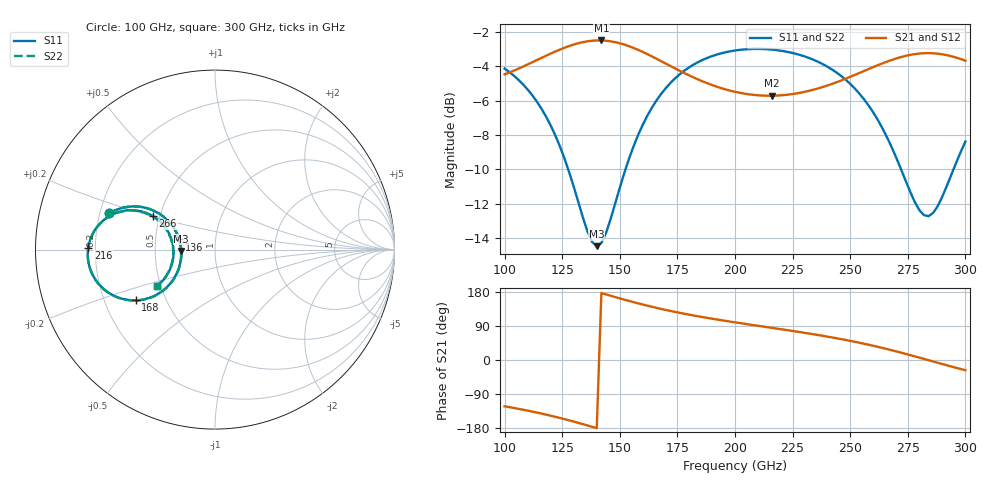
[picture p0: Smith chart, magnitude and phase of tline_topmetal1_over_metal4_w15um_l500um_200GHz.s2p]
#  GHZ S DB R 50
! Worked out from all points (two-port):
!   101 points, 100 GHz to 300 GHz, reference 50 ohm
!   highest |S21| = -2.49 dB at 142 GHz (marker M1); lowest = -5.7 dB at 216 GHz (marker M2)
!   |S21| within 3 dB of the highest: start of sweep to 200.3 GHz; 230 GHz to end of sweep
!   lowest |S11| = -14.5 dB at 140 GHz (marker M3), VSWR 1.47, Z = 34.1 - j0.491 ohm
!   |S11| at or under -10 dB: 127.6 GHz to 152.5 GHz (24.86 GHz wide, 17.8 % of centre); 272.1 GHz to 294.8 GHz (22.74 GHz wide, 8.02 % of centre)
!   |S22| runs from -14.5 to -3.0 dB; largest |S21 - S12| = 9.7e-14
!   S11 on the Smith chart (normalised r, x): 100 GHz: 0.24, +0.16; 136 GHz: 0.66, +0.08; 168 GHz: 0.33, -0.26; 216 GHz: 0.17, +0.01; 266 GHz: 0.46, +0.20; 300 GHz: 0.48, -0.23
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100  -4.12 161.0  -4.46 -122.2  -4.46 -122.2  -4.12 160.9
110  -5.35 153.8  -3.88 -133.6  -3.88 -133.6  -5.35 153.7
118  -6.93 149.0  -3.38 -144.1  -3.38 -144.1  -6.93 148.8
126  -9.37 147.5  -2.91 -156.1  -2.91 -156.1  -9.39 147.3
134  -12.81 157.7  -2.58 -169.3  -2.58 -169.3  -12.86 157.5
136  -13.63 164.2  -2.54 -172.8  -2.54 -172.8  -13.69 164.0
140  -14.47 -177.9  -2.49 -179.8  -2.49 -179.8  -14.55 -177.9
142  -14.28 -168.2  -2.49 176.7  -2.49 176.7  -14.35 -168.0
148  -11.98 -148.1  -2.59 166.1  -2.59 166.1  -12.03 -147.8
156  -8.64 -141.8  -2.92 152.6  -2.92 152.6  -8.66 -141.5
168  -5.59 -147.5  -3.70 134.7  -3.70 134.7  -5.60 -147.3
184  -3.75 -159.3  -4.76 115.3  -4.76 115.3  -3.75 -159.2
200  -3.07 -170.5  -5.48 99.4  -5.48 99.4  -3.07 -170.4
216  -3.02 179.1  -5.71 84.8  -5.71 84.8  -3.02 179.3
234  -3.61 167.7  -5.36 68.0  -5.36 68.0  -3.60 167.9
252  -5.28 156.4  -4.49 48.0  -4.49 48.0  -5.28 156.7
266  -8.13 151.7  -3.72 28.8  -3.72 28.8  -8.11 152.0
268  -8.71 152.1  -3.62 25.8  -3.62 25.8  -8.68 152.4
278  -11.89 164.8  -3.28 9.7  -3.28 9.7  -11.82 165.1
284  -12.72 -176.2  -3.22 -0.5  -3.22 -0.5  -12.65 -176.2
288  -12.14 -163.4  -3.26 -7.3  -3.26 -7.3  -12.07 -163.6
300  -8.38 -147.9  -3.66 -27.0  -3.66 -27.0  -8.35 -148.1
